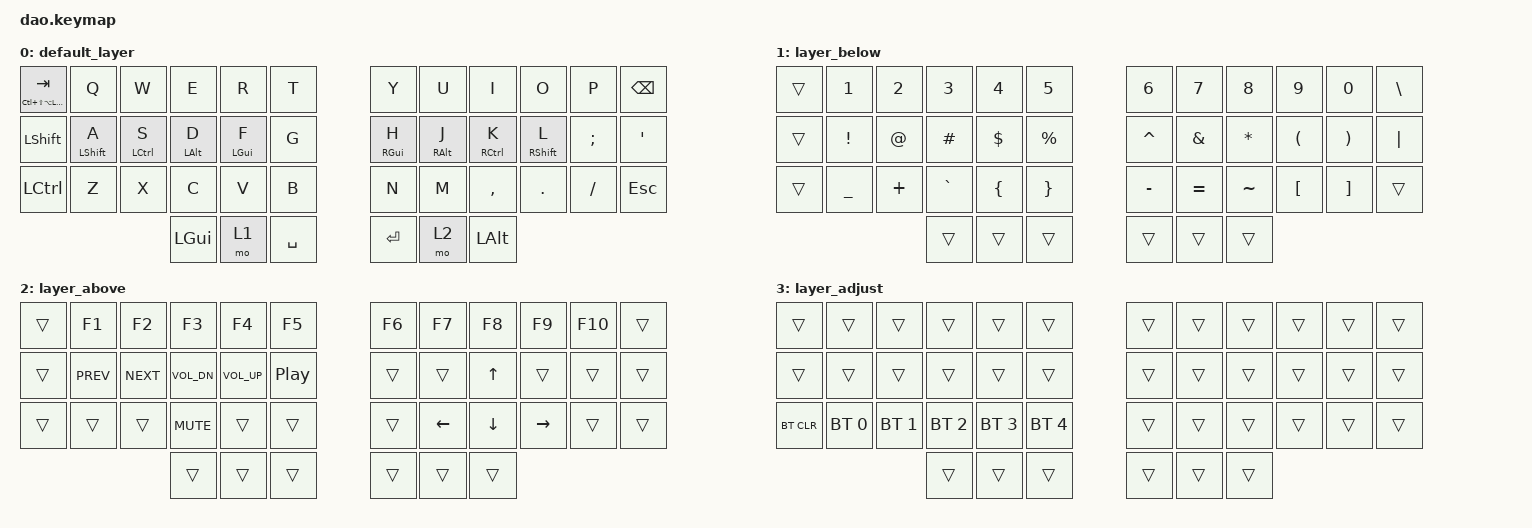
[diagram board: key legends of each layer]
#include <behaviors.dtsi>
#include <dt-bindings/zmk/keys.h>
#include <dt-bindings/zmk/bt.h>

/ {
        behaviors {
          tp: tap_preferred {
            compatible = "zmk,behavior-hold-tap";
            label = "TAP_PREFERRED";
            #binding-cells = <2>;
            tapping-term-ms = <150>;
            quick-tap-ms = <0>;
            flavor = "tap-preferred";
            bindings = <&kp>, <&kp>;
          };
          hm: homerow_mods {
            compatible = "zmk,behavior-hold-tap";
            label = "HOMEROW_MODS";
            #binding-cells = <2>;
            tapping-term-ms = <200>;
            quick-tap-ms = <0>;
            flavor = "balanced";
            bindings = <&kp>, <&kp>;
          };
        };

        conditional_layers {
          compatible = "zmk,conditional-layers";
          tri_layer {
            if-layers = <1 2>;
            then-layer = <3>;
          };
        };

        keymap {
                compatible = "zmk,keymap";

                default_layer {
// ┌───────────┬───┬───┬───┬───┬───┐   ┌───┬───┬───┬───┬───┬──────┐
// │ TAB/HYPER │ Q │ W │ E │ R │ T │   │ Y │ U │ I │ O │ P │ BSPC │
// ├───────────┼───┼───┼───┼───┼───┤   ├───┼───┼───┼───┼───┼──────┤
// │   SHIFT   │ A │ S │ D │ F │ G │   │ H │ J │ K │ L │ ; │  '   │
// ├───────────┼───┼───┼───┼───┼───┤   ├───┼───┼───┼───┼───┼──────┤
// │   CTRL    │ Z │ X │ C │ V │ B │   │ N │ M │ , │ . │ / │ ESC  │
// └───────────┴───┴───┼───┼───┼───┤   ├───┼───┼───┼───┴───┴──────┘
//                     │CMD│ ▼ │SPC│   │RET│ ▲ │ALT│
//                     └───┴───┴───┘   └───┴───┴───┘
                        bindings = <
   &tp LC(LS(LA(LGUI))) TAB  &kp Q         &kp W         &kp E        &kp R        &kp T        &kp Y    &kp U        &kp I        &kp O         &kp P         &kp BSPC
   &kp LSHFT                 &hm LSHFT A   &hm LCTRL S   &hm LALT D   &hm LGUI F   &kp G        &hm RGUI H    &hm RALT J   &hm RCTRL K   &hm RSHFT L   &kp SEMI  &kp SQT
   &kp LCTRL                 &kp Z         &kp X         &kp C        &kp V        &kp B        &kp N    &kp M        &kp COMMA    &kp DOT       &kp FSLH      &kp ESC
                                                         &kp LGUI     &mo 1        &kp SPACE    &kp RET  &mo 2        &kp LALT
                        >;
                };

                layer_below {
// ┌───────────┬───┬───┬───┬───┬───┐   ┌───┬───┬───┬───┬───┬──────┐
// │ TAB/HYPER │ 1 │ 2 │ 3 │ 4 │ 5 │   │ 6 │ 7 │ 8 │ 9 │ 0 │  \   │
// ├───────────┼───┼───┼───┼───┼───┤   ├───┼───┼───┼───┼───┼──────┤
// │   SHIFT   │ ! │ @ │ # │ $ │ % │   │ ^ │ & │ * │ ( │ ) │  |   │
// ├───────────┼───┼───┼───┼───┼───┤   ├───┼───┼───┼───┼───┼──────┤
// │   CTRL    │ _ │ + │ ` │ { │ } │   │ - │ = │ ~ │ [ │ ] │ ESC  │
// └───────────┴───┴───┼───┼───┼───┤   ├───┼───┼───┼───┴───┴──────┘
//                     │CMD│ ■ │SPC│   │RET│ ▲ │ALT│
//                     └───┴───┴───┘   └───┴───┴───┘

                        bindings = <
   &trans  &kp N1     &kp N2     &kp N3     &kp N4    &kp N5       &kp N6     &kp N7     &kp N8     &kp N9    &kp N0    &kp BSLH
   &trans  &kp EXCL   &kp AT     &kp HASH   &kp DLLR  &kp PRCNT    &kp CARET  &kp AMPS   &kp STAR   &kp LPAR  &kp RPAR  &kp PIPE
   &trans  &kp UNDER  &kp PLUS   &kp GRAVE  &kp LBRC  &kp RBRC     &kp MINUS  &kp EQUAL  &kp TILDE  &kp LBKT  &kp RBKT  &trans
                                 &trans     &trans    &trans       &trans     &trans     &trans
                        >;
                };

                layer_above {
// ┌───────────┬──────┬──────┬───────┬───────┬─────┐   ┌─────┬───────────┬──────┬───────────┬──────┬──────┐
// │ TAB/HYPER │  F1  │  F2  │  F3   │  F4   │ F5  │   │ F6  │    F7     │  F8  │    F9     │ F10  │ BSPC │
// ├───────────┼──────┼──────┼───────┼───────┼─────┤   ├─────┼───────────┼──────┼───────────┼──────┼──────┤
// │   SHIFT   │ Prev │ Next │ Vol - │ Vol + │ P/P │   │  H  │     J     │  ↑   │     L     │  ;   │  '   │
// ├───────────┼──────┼──────┼───────┼───────┼─────┤   ├─────┼───────────┼──────┼───────────┼──────┼──────┤
// │   CTRL    │  Z   │  X   │ Mute  │   V   │  B  │   │  N  │     ←     │  ↓   │     →     │  /   │ ESC  │
// └───────────┴──────┴──────┼───────┼───────┼─────┤   ├─────┼───────────┼──────┼───────────┴──────┴──────┘
//                           │  CMD  │   ▼   │ SPC │   │ RET │     ■     │ ALT  │
//                           └───────┴───────┴─────┘   └─────┴───────────┴──────┘
                        bindings = <
   &trans  &kp F1      &kp F2      &kp F3       &kp F4       &kp F5       &kp F6   &kp F7    &kp F8    &kp F9     &kp F10  &trans
   &trans  &kp C_PREV  &kp C_NEXT  &kp C_VOL_DN &kp C_VOL_UP &kp C_PP     &trans   &trans    &kp UP    &trans     &trans   &trans
   &trans  &trans      &trans      &kp C_MUTE   &trans       &trans       &trans   &kp LEFT  &kp DOWN  &kp RIGHT  &trans   &trans
                                   &trans       &trans       &trans       &trans   &trans    &trans
                        >;
                };

                layer_adjust {
// ┌───────────┬───┬───┬───┬───┬───┐   ┌───┬───┬───┬───┬───┬──────┐
// │ TAB/HYPER │ Q │ W │ E │ R │ T │   │ Y │ U │ I │ O │ P │ BSPC │
// ├───────────┼───┼───┼───┼───┼───┤   ├───┼───┼───┼───┼───┼──────┤
// │   SHIFT   │ A │ S │ D │ F │ G │   │ H │ J │ K │ L │ ; │  '   │
// ├───────────┼───┼───┼───┼───┼───┤   ├───┼───┼───┼───┼───┼──────┤
// │  BT CLR   │BT0│BT1│BT2│BT3│BT4│   │ N │ M │ , │ . │ / │ ESC  │
// └───────────┴───┴───┼───┼───┼───┤   ├───┼───┼───┼───┴───┴──────┘
//                     │CMD│ ■ │SPC│   │RET│ ■ │ALT│
//                     └───┴───┴───┘   └───┴───┴───┘
                        bindings = <
   &trans      &trans        &trans        &trans        &trans        &trans          &trans  &trans  &trans  &trans  &trans  &trans
   &trans      &trans        &trans        &trans        &trans        &trans          &trans  &trans  &trans  &trans  &trans  &trans
   &bt BT_CLR  &bt BT_SEL 0  &bt BT_SEL 1  &bt BT_SEL 2  &bt BT_SEL 3  &bt BT_SEL 4    &trans  &trans  &trans  &trans  &trans  &trans
                                           &trans        &trans        &trans          &trans  &trans  &trans
                        >;
                };
        };
};

